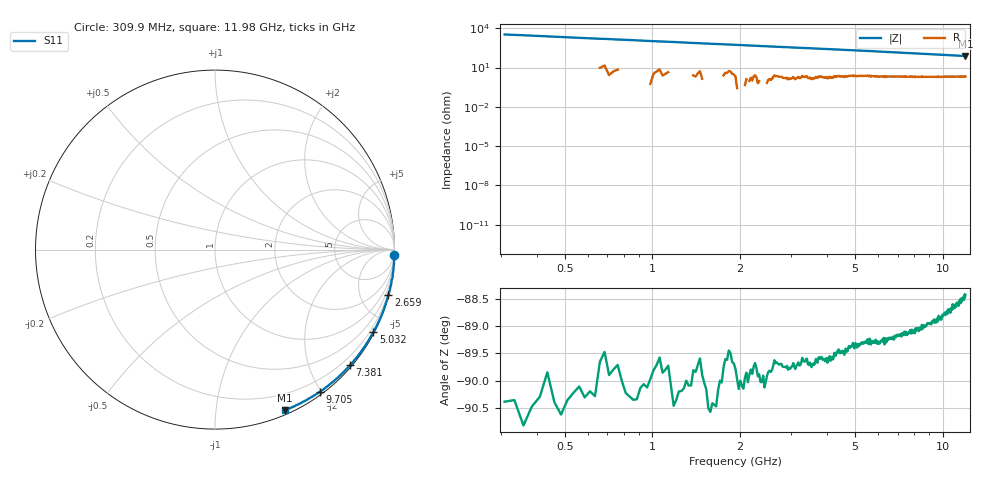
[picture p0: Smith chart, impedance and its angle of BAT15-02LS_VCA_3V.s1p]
! Infineon Technologies  Discrete & RF Semiconductors
! BAT15-02ELS
! VCA = 3 V
! One-Port S-Parameters
# Hz  S  MA  R  50
!f  S11
!Hz  Mag  Ang
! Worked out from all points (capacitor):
!   468 points, 309.9 MHz to 11.98 GHz, reference 50 ohm
!   read as one part to ground: C = 152 fF near 359.8 MHz
!   lowest |Z| = 76.2 ohm at 11.98 GHz (marker M1)
!   S11 on the Smith chart (normalised r, x): 309.9 MHz: -0, -67; 2.659 GHz: 0.04, -7.83; 5.032 GHz: 0.05, -4.08; 7.381 GHz: 0.04, -2.70; 9.705 GHz: 0.04, -1.98; 11.98 GHz: 0.04, -1.52
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3.0985e8  1 -1.7
4.347875e8  0.9999 -2.4
1.2094e9  1.001 -6.6
1.50925e9  1 -8.2
1.6092e9  1.001 -8.8
1.784112e9  0.9988 -9.8
1.90905e9  0.999 -10.3
2.009e9  1 -11.0
2.658675e9  0.9986 -14.6
3.233388e9  0.9985 -17.7
3.983012e9  0.9973 -21.8
4.70765e9  0.9959 -25.8
5.032488e9  0.9947 -27.6
5.682162e9  0.9934 -31.1
6.156925e9  0.993 -33.8
6.831588e9  0.9914 -37.5
7.381312e9  0.9899 -40.6
7.6062e9  0.99 -41.8
7.981012e9  0.9889 -43.9
8.180912e9  0.9885 -45.1
8.380812e9  0.9881 -46.2
8.580712e9  0.987 -47.4
9.080462e9  0.986 -50.1
9.70515e9  0.9839 -53.7
1.052974e10  0.9811 -58.3
1.132934e10  0.9781 -62.8
1.192904e10  0.976 -66.3
1.197901e10  0.9752 -66.6
